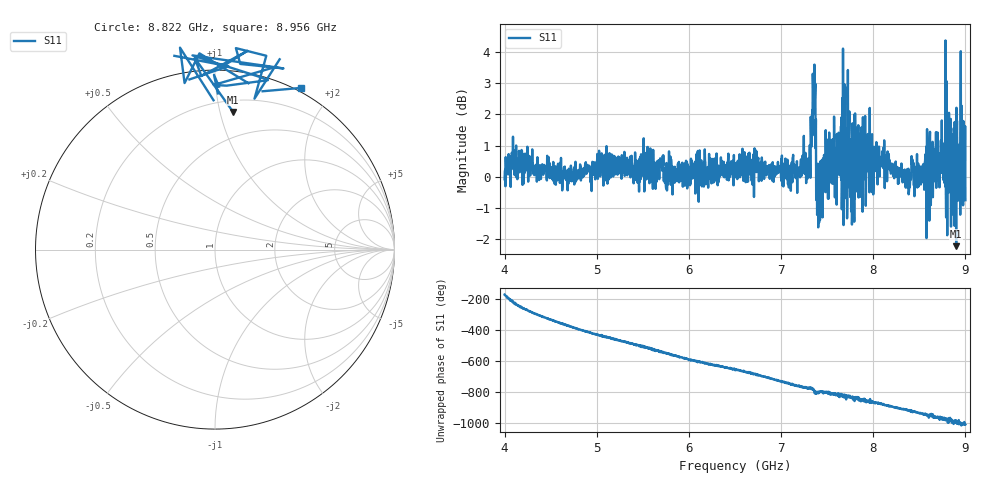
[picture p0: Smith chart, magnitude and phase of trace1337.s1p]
! Created with skrf 1.8.0 (http://scikit-rf.org).
# Hz S RI R 50.0
!freq ReS11 ImS11
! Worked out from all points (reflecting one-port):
!   1601 points, 4 GHz to 9 GHz, reference 50 ohm
!   lowest |S11| = -2.2 dB at 8.9 GHz (marker M1), VSWR 7.85, Z = 14.3 + j54.9 ohm
!   phase of S11 starts at -172 deg and turns -839 deg over the sweep
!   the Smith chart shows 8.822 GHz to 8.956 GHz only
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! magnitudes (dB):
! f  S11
! 4 GHz  -0.1
! 4.1 GHz  0.7
! 4.625 GHz  -0.4
! 5.25 GHz  0.3
! 5.875 GHz  0.1
! 6.5 GHz  0.1
! 7.125 GHz  0.6
! 7.294 GHz  0.3
! 7.347 GHz  2.9
! 7.362 GHz  3.6
! 7.4 GHz  0.4
! 7.412 GHz  -1.5
! 7.481 GHz  -0.5
! 7.562 GHz  -0.2
! 7.669 GHz  0.8
! 7.75 GHz  -0.7
! 7.769 GHz  -1.5
! 7.822 GHz  0.2
! 7.891 GHz  0.6
! 7.941 GHz  1.4
! 8.097 GHz  0.4
! 8.375 GHz  -0.4
! 8.441 GHz  -0.3
! 8.603 GHz  -0.3
! 8.775 GHz  1.1
! 8.9 GHz  -2.2
! 8.972 GHz  0.1
! 9 GHz  -0.8
